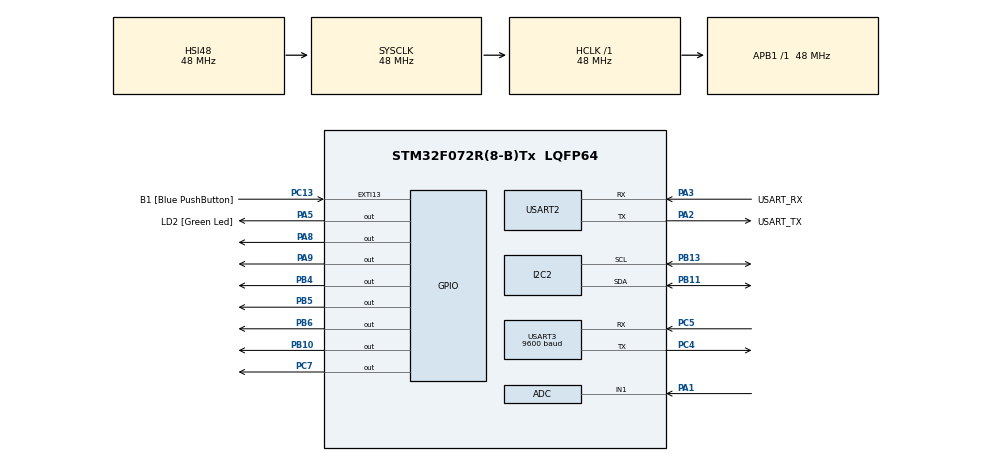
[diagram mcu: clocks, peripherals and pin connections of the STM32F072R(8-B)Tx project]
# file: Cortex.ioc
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I2C2.Timing=0x20303E5D
Mcu.Family=STM32F0
Mcu.Name=STM32F072R(8-B)Tx
Mcu.Package=LQFP64
PA1.Mode=IN1
PA1.Signal=ADC_IN1
PA13.GPIO_Label=TMS
PA13.Mode=Serial_Wire
PA13.Signal=SYS_SWDIO
PA14.GPIO_Label=TCK
PA14.Mode=Serial_Wire
PA14.Signal=SYS_SWCLK
PA2.GPIO_Label=USART_TX
PA2.GPIO_Mode=GPIO_MODE_AF_PP
PA2.GPIO_PuPd=GPIO_NOPULL
PA2.GPIO_Speed=GPIO_SPEED_FREQ_LOW
PA2.Mode=Asynchronous
PA2.Signal=USART2_TX
PA3.GPIO_Label=USART_RX
PA3.GPIO_Mode=GPIO_MODE_AF_PP
PA3.GPIO_PuPd=GPIO_NOPULL
PA3.GPIO_Speed=GPIO_SPEED_FREQ_LOW
PA3.Mode=Asynchronous
PA3.Signal=USART2_RX
PA5.GPIO_Label=LD2 [Green Led]
PA5.GPIO_Mode=GPIO_MODE_OUTPUT_PP
PA5.GPIO_PuPd=GPIO_NOPULL
PA5.GPIO_Speed=GPIO_SPEED_FREQ_LOW
PA5.Signal=GPIO_Output
PA8.Signal=GPIO_Output
PA9.Signal=GPIO_Output
PB10.Signal=GPIO_Output
PB11.Mode=I2C
PB11.Signal=I2C2_SDA
PB13.Mode=I2C
PB13.Signal=I2C2_SCL
PB4.Signal=GPIO_Output
PB5.Signal=GPIO_Output
PB6.Signal=GPIO_Output
PC13.GPIO_Label=B1 [Blue PushButton]
PC13.GPIO_ModeDefaultEXTI=GPIO_MODE_IT_FALLING
PC13.Signal=GPXTI13
PC14-OSC32_IN.Mode=LSE-External-Oscillator
PC14-OSC32_IN.Signal=RCC_OSC32_IN
PC15-OSC32_OUT.Mode=LSE-External-Oscillator
PC15-OSC32_OUT.Signal=RCC_OSC32_OUT
PC4.Mode=Asynchronous
PC4.Signal=USART3_TX
PC5.Mode=Asynchronous
PC5.Signal=USART3_RX
PC7.Signal=GPIO_Output
PF0-OSC_IN.Mode=HSE-External-Clock-Source
PF0-OSC_IN.Signal=RCC_OSC_IN
PF1-OSC_OUT.Signal=RCC_OSC_OUT
ProjectManager.HeapSize=0x200
ProjectManager.StackSize=0x400
ProjectManager.TargetToolchain=MDK-ARM V5
RCC.AHBFreq_Value=48000000
RCC.APB1Freq_Value=48000000
RCC.APB1TimFreq_Value=48000000
RCC.FLatency-AdvancedSettings=FLASH_LATENCY_1
RCC.HCLKFreq_Value=48000000
RCC.PLLDivider=RCC_PREDIV_DIV2
RCC.PLLMUL=RCC_PLL_MUL12
RCC.PREFETCH_ENABLE-AdvancedSettings=1
RCC.SYSCLKFreq_VALUE=48000000
RCC.SYSCLKSource=RCC_SYSCLKSOURCE_HSI48
USART2.VirtualMode=VM_ASYNC
USART2.VirtualMode-Asynchronous=VM_ASYNC
USART3.BaudRate=9600
USART3.VirtualMode-Asynchronous=VM_ASYNC
board=NUCLEO-F072RB

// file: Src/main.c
/* USER CODE BEGIN Header */

/* USER CODE END Header */

#include "main.h"

/* USER CODE BEGIN Includes */

#include <string.h>

/* USER CODE END Includes */

/* USER CODE BEGIN PM */

#define pino_rs_0   GPIOA->BSRR = 1<<(16+9)
#define pino_rs_1		GPIOA->BSRR = 1<<9
#define pino_e_0		GPIOC->BSRR = 1<<(16+7)
#define pino_e_1		GPIOC->BSRR = 1<<7

#define cursor_on 	 0x0c
#define cursor_off   0x0e
#define cursor_blink 0x0f

struct Controle{

	float temp;
	float umid;
  float ppm_gas;

	char str[60];

  char tempo_estado;
  char estado;

	int hora, min, seg;
	int dia, mes, ano;

}c;

char dados[300];

float le_temperatura(void);
float le_umidade(void);
float le_gas(void);
void testa_bluetooth(void);
void print_serial(char * string);
void envia_bluetooth(char * string);
void transmite(void);

void renderiza_tela1(void);
void renderiza_relogio(void);
void renderiza_sensores(void);
void renderiza_tela2(void);
void limpa_lcd(void);

void uDelay(void)
{
  int x=10;

  while(x) x--;
}
void delayUs(int tempo)
{
  while(tempo--) uDelay();
}
void lcd_send4bits(unsigned char dat)
{
	if((dat & (1 << 0)) == 0)
		GPIOB->BRR = (1 << 5);
	else
		GPIOB->BSRR = (1 << 5);

	if((dat & (1 << 1)) == 0)
		GPIOB->BRR = (1 << 4);
	else
		GPIOB->BSRR = (1 << 4);

	if((dat & (1 << 2)) == 0)
		GPIOB->BRR = (1 << 10);
	else
		GPIOB->BSRR = (1 << 10);

	if((dat & (1 << 3)) == 0)
		GPIOA->BRR = (1 << 8);
	else
		GPIOA->BSRR = (1 << 8);
}
void lcd_wrcom4(unsigned char com)
{
	lcd_send4bits(com);
	pino_rs_0;
	pino_e_1;
	delayUs(5);
	pino_e_0;
	HAL_Delay(5);
}
void lcd_wrcom(unsigned char com)
{
	lcd_send4bits(com/0x10);
	pino_rs_0;
	pino_e_1;
	delayUs(5);
	pino_e_0;

	lcd_send4bits(com%0x10);
	pino_rs_0;
	pino_e_1;
	delayUs(5);
	pino_e_0;

	HAL_Delay(5);
}
void lcd_wrchar(unsigned char ch)
{
	lcd_send4bits(ch/0x10);
	pino_rs_1;
	pino_e_1;
	delayUs(5);
	pino_e_0;

	lcd_send4bits(ch % 0x10);
	pino_rs_1;
	pino_e_1;
	delayUs(5);
	pino_e_0;

	HAL_Delay(5);
}
void lcd_init(unsigned char cursor)
{
	lcd_wrcom4(3);
  lcd_wrcom4(3);
  lcd_wrcom4(3);
  lcd_wrcom4(2);

  lcd_wrcom(0x28);
  lcd_wrcom(cursor);
  lcd_wrcom(0x06);
  lcd_wrcom(0x01);

}
void lcd_goto(unsigned char x, unsigned char y)
{
  if(x<16)
  {
    if(y==0) lcd_wrcom(0x80+x);
    if(y==1) lcd_wrcom(0xc0+x);
    if(y==2) lcd_wrcom(0x90+x);
    if(y==3) lcd_wrcom(0xd0+x);
  }
}
void lcd_wrstr(char * str)
{
	while((*str))
	{
		lcd_wrchar(*str++);
	}
}
/* USER CODE END PM */

ADC_HandleTypeDef hadc;

I2C_HandleTypeDef hi2c2;

UART_HandleTypeDef huart2;
UART_HandleTypeDef huart3;

void SystemClock_Config(void);
static void MX_GPIO_Init(void);
static void MX_USART2_UART_Init(void);
static void MX_I2C2_Init(void);
static void MX_USART3_UART_Init(void);
static void MX_ADC_Init(void);

int main(void)
{
  /* USER CODE BEGIN 1 */

	c.dia = 29;
	c.mes = 11;
	c.ano = 19;

	c.hora = 19;
	c.min = 10;
	c.seg = 00;

	c.temp = 10.0;
	c.umid = 15.0;

  c.tempo_estado = 8;
  c.estado = 0;

	int tick_i = 0;
	int tick_f = 0;

  /* USER CODE END 1 */

  /* MCU Configuration--------------------------------------------------------*/

  /* Reset of all peripherals, Initializes the Flash interface and the Systick. */
  HAL_Init();

  /* Configure the system clock */
  SystemClock_Config();

  /* Initialize all configured peripherals */
  MX_GPIO_Init();
  MX_USART2_UART_Init();
  MX_I2C2_Init();
  MX_USART3_UART_Init();
  MX_ADC_Init();
  /* USER CODE BEGIN 2 */

	lcd_init(cursor_off);
	GPIOB->BSRR = (1 << 6); //backlight on

  //testa_bluetooth();

  /* USER CODE END 2 */

  /* Infinite loop */
  /* USER CODE BEGIN WHILE */
  while (1)
  {
		tick_i = HAL_GetTick();

		c.temp = le_temperatura();
		c.umid = le_umidade();
    c.ppm_gas = le_gas();

    transmite();

    if(c.estado == 0)
    {
      renderiza_tela1();

      c.tempo_estado--;
      if(c.tempo_estado == 0)
      {
        c.tempo_estado = 3;
        c.estado = 1;
				limpa_lcd();
      }
    }
    else if(c.estado == 1)
    {
      renderiza_tela2();

      c.tempo_estado--;
      if(c.tempo_estado == 0)
      {
        c.tempo_estado = 9;
        c.estado = 0;
				limpa_lcd();
      }
    }

		tick_f = HAL_GetTick();
		while(tick_f - tick_i < 1000) tick_f = HAL_GetTick();

    /* USER CODE END WHILE */

  }
}

void SystemClock_Config(void)
{
  RCC_OscInitTypeDef RCC_OscInitStruct = {0};
  RCC_ClkInitTypeDef RCC_ClkInitStruct = {0};
  RCC_PeriphCLKInitTypeDef PeriphClkInit = {0};

  /**Initializes the CPU, AHB and APB busses clocks
  */
  RCC_OscInitStruct.OscillatorType = RCC_OSCILLATORTYPE_HSI14|RCC_OSCILLATORTYPE_HSI48;
  RCC_OscInitStruct.HSI48State = RCC_HSI48_ON;
  RCC_OscInitStruct.HSI14State = RCC_HSI14_ON;
  RCC_OscInitStruct.HSI14CalibrationValue = 16;
  RCC_OscInitStruct.PLL.PLLState = RCC_PLL_NONE;
  if (HAL_RCC_OscConfig(&RCC_OscInitStruct) != HAL_OK)
  {
    Error_Handler();
  }
  /**Initializes the CPU, AHB and APB busses clocks
  */
  RCC_ClkInitStruct.ClockType = RCC_CLOCKTYPE_HCLK|RCC_CLOCKTYPE_SYSCLK
                              |RCC_CLOCKTYPE_PCLK1;
  RCC_ClkInitStruct.SYSCLKSource = RCC_SYSCLKSOURCE_HSI48;
  RCC_ClkInitStruct.AHBCLKDivider = RCC_SYSCLK_DIV1;
  RCC_ClkInitStruct.APB1CLKDivider = RCC_HCLK_DIV1;

  if (HAL_RCC_ClockConfig(&RCC_ClkInitStruct, FLASH_LATENCY_1) != HAL_OK)
  {
    Error_Handler();
  }
  PeriphClkInit.PeriphClockSelection = RCC_PERIPHCLK_USART2;
  PeriphClkInit.Usart2ClockSelection = RCC_USART2CLKSOURCE_PCLK1;
  if (HAL_RCCEx_PeriphCLKConfig(&PeriphClkInit) != HAL_OK)
  {
    Error_Handler();
  }
}

static void MX_ADC_Init(void)
{

  ADC_ChannelConfTypeDef sConfig = {0};

  /**Configure the global features of the ADC (Clock, Resolution, Data Alignment and number of conversion)
  */
  hadc.Instance = ADC1;
  hadc.Init.ClockPrescaler = ADC_CLOCK_ASYNC_DIV1;
  hadc.Init.Resolution = ADC_RESOLUTION_12B;
  hadc.Init.DataAlign = ADC_DATAALIGN_RIGHT;
  hadc.Init.ScanConvMode = ADC_SCAN_DIRECTION_FORWARD;
  hadc.Init.EOCSelection = ADC_EOC_SINGLE_CONV;
  hadc.Init.LowPowerAutoWait = DISABLE;
  hadc.Init.LowPowerAutoPowerOff = DISABLE;
  hadc.Init.ContinuousConvMode = DISABLE;
  hadc.Init.DiscontinuousConvMode = DISABLE;
  hadc.Init.ExternalTrigConv = ADC_SOFTWARE_START;
  hadc.Init.ExternalTrigConvEdge = ADC_EXTERNALTRIGCONVEDGE_NONE;
  hadc.Init.DMAContinuousRequests = DISABLE;
  hadc.Init.Overrun = ADC_OVR_DATA_PRESERVED;
  if (HAL_ADC_Init(&hadc) != HAL_OK)
  {
    Error_Handler();
  }
  /**Configure for the selected ADC regular channel to be converted.
  */
  sConfig.Channel = ADC_CHANNEL_1;
  sConfig.Rank = ADC_RANK_CHANNEL_NUMBER;
  sConfig.SamplingTime = ADC_SAMPLETIME_1CYCLE_5;
  if (HAL_ADC_ConfigChannel(&hadc, &sConfig) != HAL_OK)
  {
    Error_Handler();
  }

}

static void MX_I2C2_Init(void)
{

  hi2c2.Instance = I2C2;
  hi2c2.Init.Timing = 0x20303E5D;
  hi2c2.Init.OwnAddress1 = 0;
  hi2c2.Init.AddressingMode = I2C_ADDRESSINGMODE_7BIT;
  hi2c2.Init.DualAddressMode = I2C_DUALADDRESS_DISABLE;
  hi2c2.Init.OwnAddress2 = 0;
  hi2c2.Init.OwnAddress2Masks = I2C_OA2_NOMASK;
  hi2c2.Init.GeneralCallMode = I2C_GENERALCALL_DISABLE;
  hi2c2.Init.NoStretchMode = I2C_NOSTRETCH_DISABLE;
  if (HAL_I2C_Init(&hi2c2) != HAL_OK)
  {
    Error_Handler();
  }
  /**Configure Analogue filter
  */
  if (HAL_I2CEx_ConfigAnalogFilter(&hi2c2, I2C_ANALOGFILTER_ENABLE) != HAL_OK)
  {
    Error_Handler();
  }
  /**Configure Digital filter
  */
  if (HAL_I2CEx_ConfigDigitalFilter(&hi2c2, 0) != HAL_OK)
  {
    Error_Handler();
  }

}

static void MX_USART2_UART_Init(void)
{

  huart2.Instance = USART2;
  huart2.Init.BaudRate = 38400;
  huart2.Init.WordLength = UART_WORDLENGTH_8B;
  huart2.Init.StopBits = UART_STOPBITS_1;
  huart2.Init.Parity = UART_PARITY_NONE;
  huart2.Init.Mode = UART_MODE_TX_RX;
  huart2.Init.HwFlowCtl = UART_HWCONTROL_NONE;
  huart2.Init.OverSampling = UART_OVERSAMPLING_16;
  huart2.Init.OneBitSampling = UART_ONE_BIT_SAMPLE_DISABLE;
  huart2.AdvancedInit.AdvFeatureInit = UART_ADVFEATURE_NO_INIT;
  if (HAL_UART_Init(&huart2) != HAL_OK)
  {
    Error_Handler();
  }

}

static void MX_USART3_UART_Init(void)
{

  huart3.Instance = USART3;
  huart3.Init.BaudRate = 9600;
  huart3.Init.WordLength = UART_WORDLENGTH_8B;
  huart3.Init.StopBits = UART_STOPBITS_1;
  huart3.Init.Parity = UART_PARITY_NONE;
  huart3.Init.Mode = UART_MODE_TX_RX;
  huart3.Init.HwFlowCtl = UART_HWCONTROL_NONE;
  huart3.Init.OverSampling = UART_OVERSAMPLING_16;
  huart3.Init.OneBitSampling = UART_ONE_BIT_SAMPLE_DISABLE;
  huart3.AdvancedInit.AdvFeatureInit = UART_ADVFEATURE_NO_INIT;
  if (HAL_UART_Init(&huart3) != HAL_OK)
  {
    Error_Handler();
  }

}

static void MX_GPIO_Init(void)
{
  GPIO_InitTypeDef GPIO_InitStruct = {0};

  /* GPIO Ports Clock Enable */
  __HAL_RCC_GPIOC_CLK_ENABLE();
  __HAL_RCC_GPIOF_CLK_ENABLE();
  __HAL_RCC_GPIOA_CLK_ENABLE();
  __HAL_RCC_GPIOB_CLK_ENABLE();

  /*Configure GPIO pin Output Level */
  HAL_GPIO_WritePin(GPIOA, LD2_Pin|GPIO_PIN_8|GPIO_PIN_9, GPIO_PIN_RESET);

  /*Configure GPIO pin Output Level */
  HAL_GPIO_WritePin(GPIOB, GPIO_PIN_10|GPIO_PIN_4|GPIO_PIN_5|GPIO_PIN_6, GPIO_PIN_RESET);

  /*Configure GPIO pin Output Level */
  HAL_GPIO_WritePin(GPIOC, GPIO_PIN_7, GPIO_PIN_RESET);

  /*Configure GPIO pin : B1_Pin */
  GPIO_InitStruct.Pin = B1_Pin;
  GPIO_InitStruct.Mode = GPIO_MODE_IT_FALLING;
  GPIO_InitStruct.Pull = GPIO_NOPULL;
  HAL_GPIO_Init(B1_GPIO_Port, &GPIO_InitStruct);

  /*Configure GPIO pins : LD2_Pin PA8 PA9 */
  GPIO_InitStruct.Pin = LD2_Pin|GPIO_PIN_8|GPIO_PIN_9;
  GPIO_InitStruct.Mode = GPIO_MODE_OUTPUT_PP;
  GPIO_InitStruct.Pull = GPIO_NOPULL;
  GPIO_InitStruct.Speed = GPIO_SPEED_FREQ_LOW;
  HAL_GPIO_Init(GPIOA, &GPIO_InitStruct);

  /*Configure GPIO pins : PB10 PB4 PB5 PB6 */
  GPIO_InitStruct.Pin = GPIO_PIN_10|GPIO_PIN_4|GPIO_PIN_5|GPIO_PIN_6;
  GPIO_InitStruct.Mode = GPIO_MODE_OUTPUT_PP;
  GPIO_InitStruct.Pull = GPIO_NOPULL;
  GPIO_InitStruct.Speed = GPIO_SPEED_FREQ_LOW;
  HAL_GPIO_Init(GPIOB, &GPIO_InitStruct);

  /*Configure GPIO pin : PC7 */
  GPIO_InitStruct.Pin = GPIO_PIN_7;
  GPIO_InitStruct.Mode = GPIO_MODE_OUTPUT_PP;
  GPIO_InitStruct.Pull = GPIO_NOPULL;
  GPIO_InitStruct.Speed = GPIO_SPEED_FREQ_LOW;
  HAL_GPIO_Init(GPIOC, &GPIO_InitStruct);

}

/* USER CODE BEGIN 4 */

void transmite(void)
{
  sprintf(dados,"%03.1f %03.1f %06.1f", c.temp, c.umid, c.ppm_gas);
  print_serial(dados);
  envia_bluetooth(dados);
}
float le_temperatura(void)
{
	uint8_t dado[2];
	uint16_t T0_degC = 0, T1_degC = 0;
	int16_t  T1_out = 0, T0_out = 0,T_out= 0;

	dado[0] = 0x82;
	HAL_I2C_Mem_Write(&hi2c2,0xBE,0x20,I2C_MEMADD_SIZE_8BIT,&dado[0],1,50);

	HAL_I2C_Mem_Read(&hi2c2,0xBF,0x32,I2C_MEMADD_SIZE_8BIT,&dado[0],1,50);
	HAL_I2C_Mem_Read(&hi2c2,0xBF,0x33,I2C_MEMADD_SIZE_8BIT,&dado[1],1,50);

	T0_degC = dado[0];
	T1_degC = dado[1];

	HAL_I2C_Mem_Read(&hi2c2,0xBF,0x35,I2C_MEMADD_SIZE_8BIT,&dado[0],1,50);

	T1_degC = ((dado[0] & 0xC) << 6) + T1_degC;
	T0_degC = ((dado[0]  & 3) << 8) + T0_degC;
	T0_degC = T0_degC /8;
	T1_degC = T1_degC / 8;

	HAL_I2C_Mem_Read(&hi2c2,0xBF,0x3C,I2C_MEMADD_SIZE_8BIT,&dado[0],1,50);
	HAL_I2C_Mem_Read(&hi2c2,0xBF,0x3D,I2C_MEMADD_SIZE_8BIT,&dado[1],1,50);

	T0_out = (dado[1] << 8) + dado[0];

	HAL_I2C_Mem_Read(&hi2c2,0xBF,0x3E,I2C_MEMADD_SIZE_8BIT,&dado[0],1,50);
	HAL_I2C_Mem_Read(&hi2c2,0xBF,0x3F,I2C_MEMADD_SIZE_8BIT,&dado[1],1,50);

	T1_out = (dado[1] << 8) + dado[0];

	HAL_I2C_Mem_Read(&hi2c2,0xBF,0x2A,I2C_MEMADD_SIZE_8BIT,&dado[0],1,50);
	HAL_I2C_Mem_Read(&hi2c2,0xBF,0x2B,I2C_MEMADD_SIZE_8BIT,&dado[1],1,50);

	T_out = (dado[1] << 8) + dado[0];

	return (((T1_degC - T0_degC) * (T_out - T0_out))/(T1_out - T0_out) + T0_degC);
}
float le_umidade(void)
{
	uint8_t dado[2];
	dado[0] = 0x82;
	dado[1] = 0;

	uint16_t H0_rH_x2, H1_rH_x2;

	int16_t H0_T0_OUT, H1_T0_OUT;

	int16_t H_OUT;

	//escrever na memoria do sensor pra dar WAKE UP
	HAL_I2C_Mem_Write(&hi2c2,0xBE,0x20,I2C_MEMADD_SIZE_8BIT,&dado[0],1,50);

	//agora seguir roteiro

	//1 leitura dos registradores das posicoes 0x30 e 0x31
	HAL_I2C_Mem_Read(&hi2c2,0xBF,0x30,I2C_MEMADD_SIZE_8BIT,&dado[0],1,50);
	HAL_I2C_Mem_Read(&hi2c2,0xBF,0x31,I2C_MEMADD_SIZE_8BIT,&dado[1],1,50);

	H0_rH_x2 = dado[0]/2;
	H1_rH_x2 = dado[1]/2;

	float h = 0;

	//3 leitura dos 0x36, 0x37
	HAL_I2C_Mem_Read(&hi2c2,0xBF,0x36,I2C_MEMADD_SIZE_8BIT,&dado[0],1,50);
	HAL_I2C_Mem_Read(&hi2c2,0xBF,0x37,I2C_MEMADD_SIZE_8BIT,&dado[1],1,50);

	H0_T0_OUT = (dado[1] << 8) + dado[0];

	//4 leitura 0x3a, 0x3b
	HAL_I2C_Mem_Read(&hi2c2,0xBF,0x3a,I2C_MEMADD_SIZE_8BIT,&dado[0],1,50);
	HAL_I2C_Mem_Read(&hi2c2,0xBF,0x3b,I2C_MEMADD_SIZE_8BIT,&dado[1],1,50);

	H1_T0_OUT = (dado[1] << 8) + dado[0];

	// 5 leitura do 0x28 e 0x29
	HAL_I2C_Mem_Read(&hi2c2,0xBF,0x28,I2C_MEMADD_SIZE_8BIT,&dado[0],1,50);
	HAL_I2C_Mem_Read(&hi2c2,0xBF,0x29,I2C_MEMADD_SIZE_8BIT,&dado[1],1,50);

	H_OUT = (dado[1] << 8) + dado[0];

	// 6 calcular

	h = (((H1_rH_x2 - H0_rH_x2) * (H_OUT - H0_T0_OUT))/(H1_T0_OUT - H0_T0_OUT))+H0_rH_x2;

	return h;
}
void renderiza_relogio(void)
{
	lcd_goto(0,1);
	sprintf(c.str,"%02d:%02d:%02d",c.hora,c.min,c.seg);
	lcd_wrstr(c.str);

	lcd_goto(11,1);
	sprintf(c.str,"%02d/%02d",c.dia,c.mes);
	lcd_wrstr(c.str);

	c.seg++;

	if(c.seg == 60)
	{
		c.seg = 0;
		c.min++;
		if(c.min == 60)
		{
			c.min = 0;
			c.hora++;
			if(c.hora == 24)
			{
				c.hora = 0;
				c.dia++;
				if(c.dia == 31)
				{
					c.dia = 1;
					c.mes++;
					if(c.mes == 13)
					{
						c.mes = 1;
						c.ano++;
					}
				}
			}
		}
	}
}
void testa_bluetooth(void)
{
	char str[30];
	sprintf(str,"Hello World\n");
	HAL_UART_Transmit(&huart3,(uint8_t*)str,strlen(str),100);

	/*sprintf(dados,"%2.1fC\n%2.1f%%\nEnviado\n\n",c.temp,c.umid);
	HAL_UART_Transmit(&huart3,(uint8_t*)dados,strlen(dados),100);*/
}
void print_serial(char * string)
{
	HAL_UART_Transmit(&huart2,(uint8_t*)string,strlen(string),100);
}
void envia_bluetooth(char * string)
{
	HAL_UART_Transmit(&huart3,(uint8_t*)string,strlen(string),100);
}
void renderiza_tela1(void)
{
  renderiza_relogio();
  renderiza_sensores();
}
void renderiza_sensores(void)
{
  lcd_goto(0,0);
	sprintf(c.str,"%3.1fC  %3.1f%%",c.temp,c.umid);
	lcd_wrstr(c.str);
}
void renderiza_tela2(void)
{
  sprintf(c.str,"%6.1f ppm",c.ppm_gas);
  lcd_goto(0,1);
  lcd_wrstr(c.str);

  if(c.ppm_gas < 200.0)
  {
    sprintf(c.str, "Situacao Regular");
    lcd_goto(0,0);
    lcd_wrstr(c.str);
  }
  else
  {
    sprintf(c.str, "Situacao Anormal");
    lcd_goto(0,0);
    lcd_wrstr(c.str);
  }
}
void limpa_lcd(void)
{
  sprintf(c.str,"                ");
  lcd_goto(0,0);
  lcd_wrstr(c.str);
  lcd_goto(0,1);
  lcd_wrstr(c.str);
}
float le_gas(void)
{
	HAL_ADC_Start(&hadc);
	HAL_ADC_PollForConversion(&hadc,50);
	int leitura = HAL_ADC_GetValue(&hadc);
  HAL_ADC_Stop(&hadc);
	return leitura*0.134310134;
}
/* USER CODE END 4 */

void Error_Handler(void)
{
}

/************************ (C) COPYRIGHT STMicroelectronics *****END OF FILE****/
